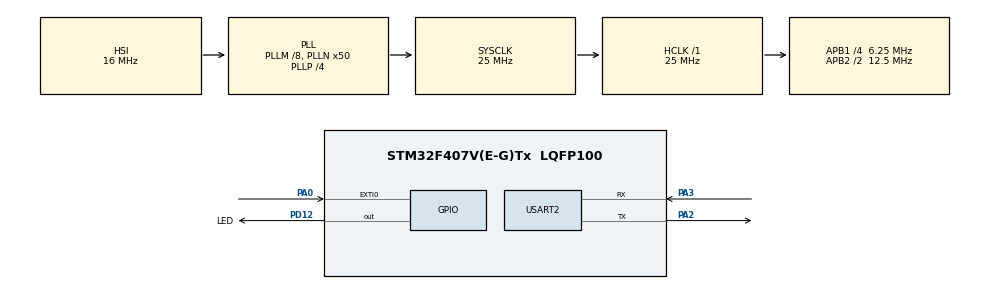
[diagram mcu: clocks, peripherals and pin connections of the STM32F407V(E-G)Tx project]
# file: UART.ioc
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Mcu.Family=STM32F4
Mcu.Name=STM32F407V(E-G)Tx
Mcu.Package=LQFP100
NVIC.PriorityGroup=NVIC_PRIORITYGROUP_0
NVIC.TIM2_IRQn=true\:0\:0\:false\:true\:true\:1\:true\:true\:true
NVIC.USART2_IRQn=true\:0\:0\:false\:true\:true\:2\:true\:true\:true
PA0-WKUP.Signal=GPXTI0
PA2.Mode=Asynchronous
PA2.Signal=USART2_TX
PA3.Mode=Asynchronous
PA3.Signal=USART2_RX
PD12.GPIO_Label=LED
PD12.Signal=GPIO_Output
ProjectManager.HeapSize=0x200
ProjectManager.StackSize=0x400
ProjectManager.TargetToolchain=STM32CubeIDE
RCC.48MHZClocksFreq_Value=14285714.285714285
RCC.AHBFreq_Value=25000000
RCC.APB1CLKDivider=RCC_HCLK_DIV4
RCC.APB1Freq_Value=6250000
RCC.APB1TimFreq_Value=12500000
RCC.APB2CLKDivider=RCC_HCLK_DIV2
RCC.APB2Freq_Value=12500000
RCC.APB2TimFreq_Value=25000000
RCC.CortexFreq_Value=25000000
RCC.HCLKFreq_Value=25000000
RCC.HSE_VALUE=8000000
RCC.HSI_VALUE=16000000
RCC.LSE_VALUE=32768
RCC.PLLM=8
RCC.PLLN=50
RCC.PLLP=RCC_PLLP_DIV4
RCC.PLLQ=7
RCC.SYSCLKFreq_VALUE=25000000
RCC.SYSCLKSource=RCC_SYSCLKSOURCE_PLLCLK
RCC.VCOOutputFreq_Value=100000000
TIM2.Period=999
TIM2.Prescaler=8399
USART2.VirtualMode=VM_ASYNC
VP_TIM2_VS_ClockSourceINT.Mode=Internal
board=STM32F407G-DISC1

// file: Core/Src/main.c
/* USER CODE BEGIN Header */
/**
  ******************************************************************************
  * @file           : main.c
  * @brief          : Main program body
  ******************************************************************************
  * @attention
  *
  * Copyright (c) 2025 STMicroelectronics.
  * All rights reserved.
  *
  * This software is licensed under terms that can be found in the LICENSE file
  * in the root directory of this software component.
  * If no LICENSE file comes with this software, it is provided AS-IS.
  *
  ******************************************************************************
  */
/* USER CODE END Header */
#include "main.h"

/* USER CODE BEGIN Includes */
#include "stm32f4xx_hal.h"
#include <string.h>
#include <stdint.h>
#include <stdio.h>

/* USER CODE END Includes */

TIM_HandleTypeDef htim2;

UART_HandleTypeDef huart2;

/* USER CODE BEGIN PV */
volatile uint8_t rx_byte = 0;
      volatile uint8_t led_manual_on = 0;
      volatile uint8_t stopwatch_running = 0;
      volatile uint32_t stopwatch_ms = 0;

/* USER CODE END PV */

void SystemClock_Config(void);
static void MX_GPIO_Init(void);
static void MX_USART2_UART_Init(void);
static void MX_TIM2_Init(void);
static void MX_NVIC_Init(void);

int main(void)
{

  /* MCU Configuration--------------------------------------------------------*/

  /* Reset of all peripherals, Initializes the Flash interface and the Systick. */
  HAL_Init();

  /* Configure the system clock */
  SystemClock_Config();

  /* Initialize all configured peripherals */
  MX_GPIO_Init();

  MX_USART2_UART_Init();
  MX_TIM2_Init();

  /* Initialize interrupts */
  MX_NVIC_Init();
  /* USER CODE BEGIN 2 */
  const char welcome[] = "System Init OK\r\nMenu:\r\n1 = LED ON\r\n0 = LED OFF\r\n";
      HAL_UART_Transmit(&huart2, (uint8_t*)welcome, strlen(welcome), HAL_MAX_DELAY);

  /* USER CODE END 2 */

  /* Infinite loop */
  while (1)
  {

  }
}

void SystemClock_Config(void)
{
  RCC_OscInitTypeDef RCC_OscInitStruct = {0};
  RCC_ClkInitTypeDef RCC_ClkInitStruct = {0};

  /** Configure the main internal regulator output voltage
  */
  __HAL_RCC_PWR_CLK_ENABLE();
  __HAL_PWR_VOLTAGESCALING_CONFIG(PWR_REGULATOR_VOLTAGE_SCALE1);

  /** Initializes the RCC Oscillators according to the specified parameters
  * in the RCC_OscInitTypeDef structure.
  */
  RCC_OscInitStruct.OscillatorType = RCC_OSCILLATORTYPE_HSI;
  RCC_OscInitStruct.HSIState = RCC_HSI_ON;
  RCC_OscInitStruct.HSICalibrationValue = RCC_HSICALIBRATION_DEFAULT;
  RCC_OscInitStruct.PLL.PLLState = RCC_PLL_ON;
  RCC_OscInitStruct.PLL.PLLSource = RCC_PLLSOURCE_HSI;
  RCC_OscInitStruct.PLL.PLLM = 8;
  RCC_OscInitStruct.PLL.PLLN = 50;
  RCC_OscInitStruct.PLL.PLLP = RCC_PLLP_DIV4;
  RCC_OscInitStruct.PLL.PLLQ = 7;
  if (HAL_RCC_OscConfig(&RCC_OscInitStruct) != HAL_OK)
  {
    Error_Handler();
  }

  /** Initializes the CPU, AHB and APB buses clocks
  */
  RCC_ClkInitStruct.ClockType = RCC_CLOCKTYPE_HCLK|RCC_CLOCKTYPE_SYSCLK
                              |RCC_CLOCKTYPE_PCLK1|RCC_CLOCKTYPE_PCLK2;
  RCC_ClkInitStruct.SYSCLKSource = RCC_SYSCLKSOURCE_PLLCLK;
  RCC_ClkInitStruct.AHBCLKDivider = RCC_SYSCLK_DIV1;
  RCC_ClkInitStruct.APB1CLKDivider = RCC_HCLK_DIV4;
  RCC_ClkInitStruct.APB2CLKDivider = RCC_HCLK_DIV2;

  if (HAL_RCC_ClockConfig(&RCC_ClkInitStruct, FLASH_LATENCY_0) != HAL_OK)
  {
    Error_Handler();
  }
}

/**
  * @brief NVIC Configuration.
  * @retval None
  */
static void MX_NVIC_Init(void)
{
  /* TIM2_IRQn interrupt configuration */
  HAL_NVIC_SetPriority(TIM2_IRQn, 0, 0);
  HAL_NVIC_EnableIRQ(TIM2_IRQn);
  /* USART2_IRQn interrupt configuration */
  HAL_NVIC_SetPriority(USART2_IRQn, 0, 0);
  HAL_NVIC_EnableIRQ(USART2_IRQn);
}

static void MX_TIM2_Init(void)
{

  TIM_ClockConfigTypeDef sClockSourceConfig = {0};
  TIM_MasterConfigTypeDef sMasterConfig = {0};

  htim2.Instance = TIM2;
  htim2.Init.Prescaler = 8399;
  htim2.Init.CounterMode = TIM_COUNTERMODE_UP;
  htim2.Init.Period = 999;
  htim2.Init.ClockDivision = TIM_CLOCKDIVISION_DIV1;
  htim2.Init.AutoReloadPreload = TIM_AUTORELOAD_PRELOAD_DISABLE;
  if (HAL_TIM_Base_Init(&htim2) != HAL_OK)
  {
    Error_Handler();
  }
  sClockSourceConfig.ClockSource = TIM_CLOCKSOURCE_INTERNAL;
  if (HAL_TIM_ConfigClockSource(&htim2, &sClockSourceConfig) != HAL_OK)
  {
    Error_Handler();
  }
  sMasterConfig.MasterOutputTrigger = TIM_TRGO_RESET;
  sMasterConfig.MasterSlaveMode = TIM_MASTERSLAVEMODE_DISABLE;
  if (HAL_TIMEx_MasterConfigSynchronization(&htim2, &sMasterConfig) != HAL_OK)
  {
    Error_Handler();
  }

}

static void MX_USART2_UART_Init(void)
{

  huart2.Instance = USART2;
  huart2.Init.BaudRate = 115200;
  huart2.Init.WordLength = UART_WORDLENGTH_8B;
  huart2.Init.StopBits = UART_STOPBITS_1;
  huart2.Init.Parity = UART_PARITY_NONE;
  huart2.Init.Mode = UART_MODE_TX_RX;
  huart2.Init.HwFlowCtl = UART_HWCONTROL_NONE;
  huart2.Init.OverSampling = UART_OVERSAMPLING_16;
  if (HAL_UART_Init(&huart2) != HAL_OK)
  {
    Error_Handler();
  }

}

static void MX_GPIO_Init(void)
{
  GPIO_InitTypeDef GPIO_InitStruct = {0};

  /* GPIO Ports Clock Enable */
  __HAL_RCC_GPIOA_CLK_ENABLE();
  __HAL_RCC_GPIOD_CLK_ENABLE();

  /*Configure GPIO pin Output Level */
  HAL_GPIO_WritePin(LED_GPIO_Port, LED_Pin, GPIO_PIN_RESET);

  /*Configure GPIO pin : Button_Pin */
  GPIO_InitStruct.Pin = LED_Pin;
  GPIO_InitStruct.Mode = GPIO_MODE_INPUT;
  GPIO_InitStruct.Pull = GPIO_NOPULL;
  HAL_GPIO_Init(LED_GPIO_Port, &GPIO_InitStruct);

  /*Configure GPIO pin : LED_Pin */
  GPIO_InitStruct.Pin = LED_Pin;
  GPIO_InitStruct.Mode = GPIO_MODE_OUTPUT_PP;
  GPIO_InitStruct.Pull = GPIO_NOPULL;
  GPIO_InitStruct.Speed = GPIO_SPEED_FREQ_LOW;
  HAL_GPIO_Init(LED_GPIO_Port, &GPIO_InitStruct);

/* USER CODE BEGIN MX_GPIO_Init_2 */
  HAL_GPIO_WritePin(GPIOD, GPIO_PIN_12, GPIO_PIN_RESET);
 }
/* USER CODE END MX_GPIO_Init_2 */

/* USER CODE BEGIN 4 */
void HAL_TIM_PeriodElapsedCallback(TIM_HandleTypeDef *htim)
{
    if (htim->Instance == TIM2) {
    	if (!led_manual_on) HAL_GPIO_TogglePin(GPIOD, GPIO_PIN_12);

    	        // Stopwatch increment
    	        if (stopwatch_running) stopwatch_ms += 100; // 100ms tick
    	    }
        // LED heartbeat or stopwatch increment
    }

// UART RX interrupt
void HAL_UART_RxCpltCallback(UART_HandleTypeDef *huart)
{
    if (huart->Instance == USART2) {
    	if (rx_byte == '1') {
    	            led_manual_on = 1;
    	            HAL_GPIO_WritePin(GPIOD, GPIO_PIN_12, GPIO_PIN_SET);
    	            char msg[] = "LED ON\r\n";
    	            HAL_UART_Transmit_IT(&huart2, (uint8_t*)msg, strlen(msg));
    	        } else if (rx_byte == '0') {
    	            led_manual_on = 0;
    	            HAL_GPIO_WritePin(GPIOD, GPIO_PIN_12, GPIO_PIN_RESET);
    	            char msg[] = "LED OFF\r\n";
    	            HAL_UART_Transmit_IT(&huart2, (uint8_t*)msg, strlen(msg));
    	        }
    	HAL_UART_Receive_IT(&huart2, (uint8_t *)&rx_byte, 1);

        // Process received byte
    }

}

// Button EXTI interrupt (PA0)
void HAL_GPIO_EXTI_Callback(uint16_t GPIO_Pin)
{
	if (GPIO_Pin == GPIO_PIN_0) { // PA0
	        static uint32_t last_tick = 0;
	        uint32_t now = HAL_GetTick();
	        if ((now - last_tick) < 200) return; // debounce 200ms
	        last_tick = now;

	        if (!stopwatch_running) {
	            stopwatch_ms = 0;
	            stopwatch_running = 1;
	            char msg[] = "Stopwatch START\r\n";
	            HAL_UART_Transmit_IT(&huart2, (uint8_t*)msg, strlen(msg));
	        } else {
	            stopwatch_running = 0;
	            char buf[64];
	            int len = snprintf(buf, sizeof(buf), "Stopwatch STOP: %lu ms\r\n", stopwatch_ms);
	            HAL_UART_Transmit_IT(&huart2, (uint8_t*)buf, len);
	        }
	    }
}

/* USER CODE END 4 */

void Error_Handler(void)
{
  __disable_irq();
  while (1)
  {
  }
}
